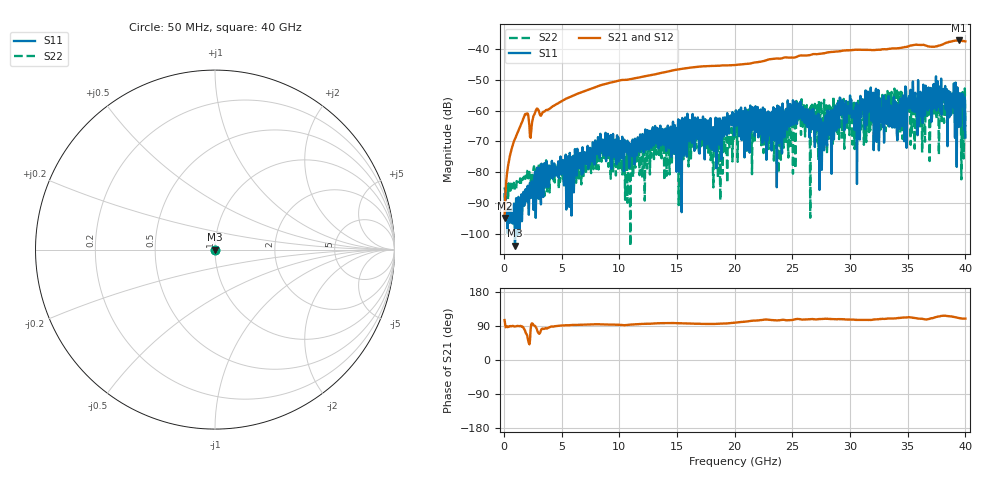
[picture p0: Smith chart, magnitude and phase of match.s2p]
!Keysight Technologies,N5247B,MY61255062,A.15.50.07
!Date: Thursday, February 13, 2025 12:32:13
!Correction: S11(C  2-Port  )
!S21(C  2-Port  )
!S12(C  2-Port  )
!S22(C  2-Port  )
!S2P File: Measurements: S11, S21, S12, S22:
# Hz S  MA  R 50
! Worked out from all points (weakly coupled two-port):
!   800 points, 50 MHz to 40 GHz, reference 50 ohm
!   highest |S21| = -37.22 dB at 39.45 GHz (marker M1); lowest = -94.9 dB at 50 MHz (marker M2)
!   lowest |S11| = -103.9 dB at 950 MHz (marker M3), VSWR 1.00, Z = 50 - j0.000112 ohm
!   |S11| at or under -10 dB: start of sweep to end of sweep
!   |S22| runs from -104.0 to -52.4 dB; largest |S21 - S12| = 0.00021
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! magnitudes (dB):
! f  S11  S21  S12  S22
! 50 MHz  -87.2  -94.9  -96.7  -85.0
! 950 MHz  -103.9  -69.2  -69.2  -86.0
! 1.9 GHz  -85.5  -61.1  -61.1  -81.2
! 2.35 GHz  -88.3  -66.7  -66.6  -81.3
! 6.75 GHz  -80.8  -54.0  -54.0  -77.7
! 13.4 GHz  -72.3  -48.0  -48.0  -72.3
! 18.75 GHz  -64.5  -45.4  -45.4  -89.2
! 20.05 GHz  -63.7  -45.2  -45.2  -69.6
! 22 GHz  -58.9  -44.3  -44.2  -59.5
! 23.6 GHz  -61.2  -43.1  -43.1  -72.2
! 26.7 GHz  -66.1  -41.8  -41.8  -58.1
! 27.55 GHz  -79.2  -41.5  -41.5  -60.8
! 29.15 GHz  -55.9  -40.7  -40.7  -58.7
! 30.65 GHz  -61.7  -40.3  -40.2  -62.5
! 31.75 GHz  -56.5  -40.3  -40.3  -66.4
! 33.35 GHz  -55.3  -40.0  -40.0  -60.4
! 34.85 GHz  -58.5  -39.3  -39.3  -52.4
! 35.45 GHz  -50.5  -38.7  -38.7  -63.7
! 38.2 GHz  -53.6  -38.2  -38.2  -55.2
! 39.45 GHz  -54.3  -37.2  -37.2  -62.2
! 39.65 GHz  -54.5  -37.3  -37.3  -82.3
! 40 GHz  -68.8  -37.5  -37.5  -65.2
